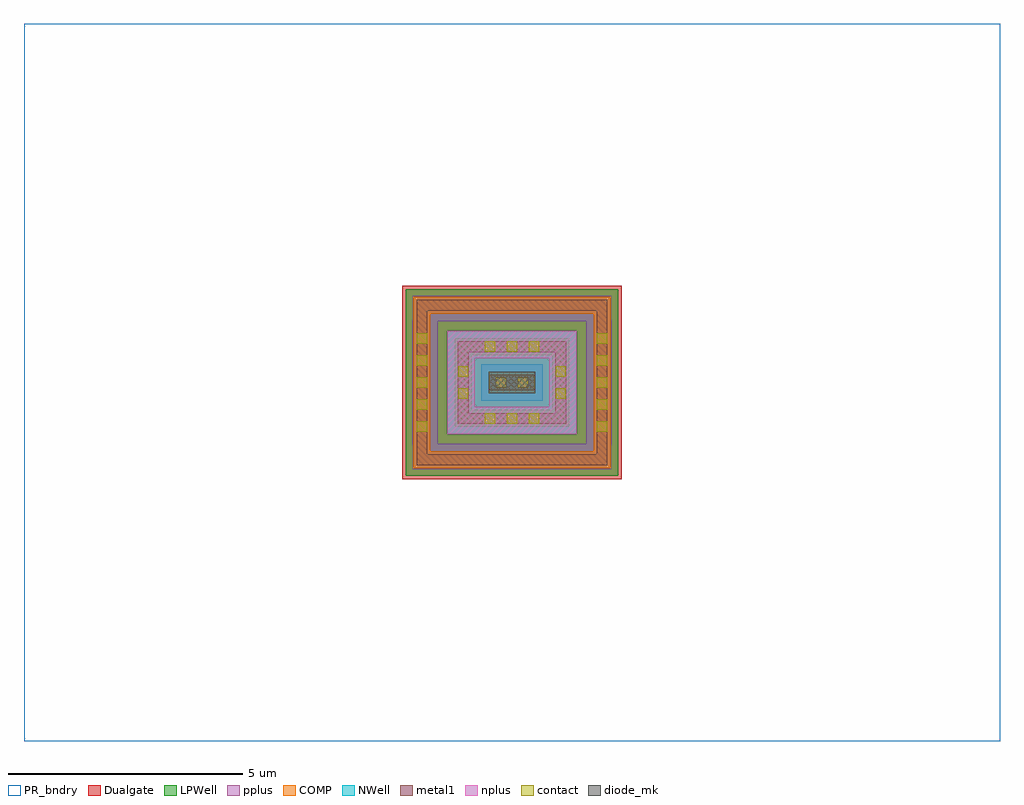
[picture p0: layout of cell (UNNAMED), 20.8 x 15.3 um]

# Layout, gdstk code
import gdstk
lib = gdstk.Library(unit=1e-6, precision=1e-09)
def R(c, l, rs):  # rectangles x0, y0, x1, y1
    for r in rs: c.add(gdstk.rectangle(r[:2], r[2:], *l))
def A(c, l, x, y, w, h, nx, ny, dx, dy):  # array of equal rectangles
    R(c, l, [(x+i*dx, y+j*dy, x+i*dx+w, y+j*dy+h) for i in range(nx) for j in range(ny)])
PR_bndry = (0, 0)
NWell = (21, 0)
COMP = (22, 0)
pplus = (31, 0)
nplus = (32, 0)
contact = (33, 0)
metal1 = (34, 0)
Dualgate = (55, 0)
diode_mk = (115, 5)
LPWell = (204, 0)

c__unnamed_ = lib.new_cell('(UNNAMED)')
R(c__unnamed_, PR_bndry, [(-10.4,-7.65,10.4,7.65)])
R(c__unnamed_, NWell, [(-1.38,-1.105,1.38,1.105)])
R(c__unnamed_, COMP, [(-2.1,-1.825,2.1,-1.465), (-2.1,-1.465,-1.74,1.465), (1.74,-1.465,2.1,1.465), (-1.22,-0.945,1.22,-0.585), (-1.22,-0.585,-0.86,0.585), (0.86,-0.585,1.22,0.585), (-0.5,-0.225,0.5,0.225), (-1.22,0.585,1.22,0.945), (-2.1,1.465,2.1,1.825)])
R(c__unnamed_, pplus, [(-2.12,-1.845,2.12,-1.34), (-2.13,-1.34,2.13,-1.305), (-2.13,-1.305,-1.58,1.305), (1.58,-1.305,2.13,1.305), (-0.66,-0.385,0.66,0.385), (-2.13,1.305,2.13,1.34), (-2.12,1.34,2.12,1.845)])
R(c__unnamed_, nplus, [(-1.38,-1.105,1.38,-0.515), (-1.38,-0.515,-0.79,0.515), (0.79,-0.515,1.38,0.515), (-1.38,0.515,1.38,1.105)])
A(c__unnamed_, contact, -2.03, -1.05, 0.22, 0.22, 1, 5, 0, 0.47)
A(c__unnamed_, contact, 1.81, -1.05, 0.22, 0.22, 1, 5, 0, 0.47)
A(c__unnamed_, contact, -0.58, -0.875, 0.22, 0.22, 3, 2, 0.47, 1.53)
R(c__unnamed_, contact, [(-1.15,-0.345,-0.93,-0.125), (0.93,-0.345,1.15,-0.125), (-0.345,-0.11,-0.125,0.11), (0.125,-0.11,0.345,0.11), (-1.15,0.125,-0.93,0.345), (0.93,0.125,1.15,0.345)])
R(c__unnamed_, metal1, [(-2.035,-1.76,2.035,-1.53), (-2.035,-1.53,-1.805,1.53), (1.805,-1.53,2.035,1.53), (-1.155,-0.88,1.155,-0.65), (-1.155,-0.65,-0.925,0.65), (0.925,-0.65,1.155,0.65), (-0.49,-0.16,0.49,0.16), (-1.155,0.65,1.155,0.88), (-2.035,1.53,2.035,1.76)])
R(c__unnamed_, Dualgate, [(-2.34,-2.065,2.34,2.065)])
R(c__unnamed_, diode_mk, [(-0.5,-0.225,0.5,0.225)])
R(c__unnamed_, LPWell, [(-2.26,-1.985,2.26,-1.105), (-2.26,-1.105,-1.38,1.105), (1.38,-1.105,2.26,1.105), (-2.26,1.105,2.26,1.985)])

lib.write_gds('_UNNAMED_.gds')
